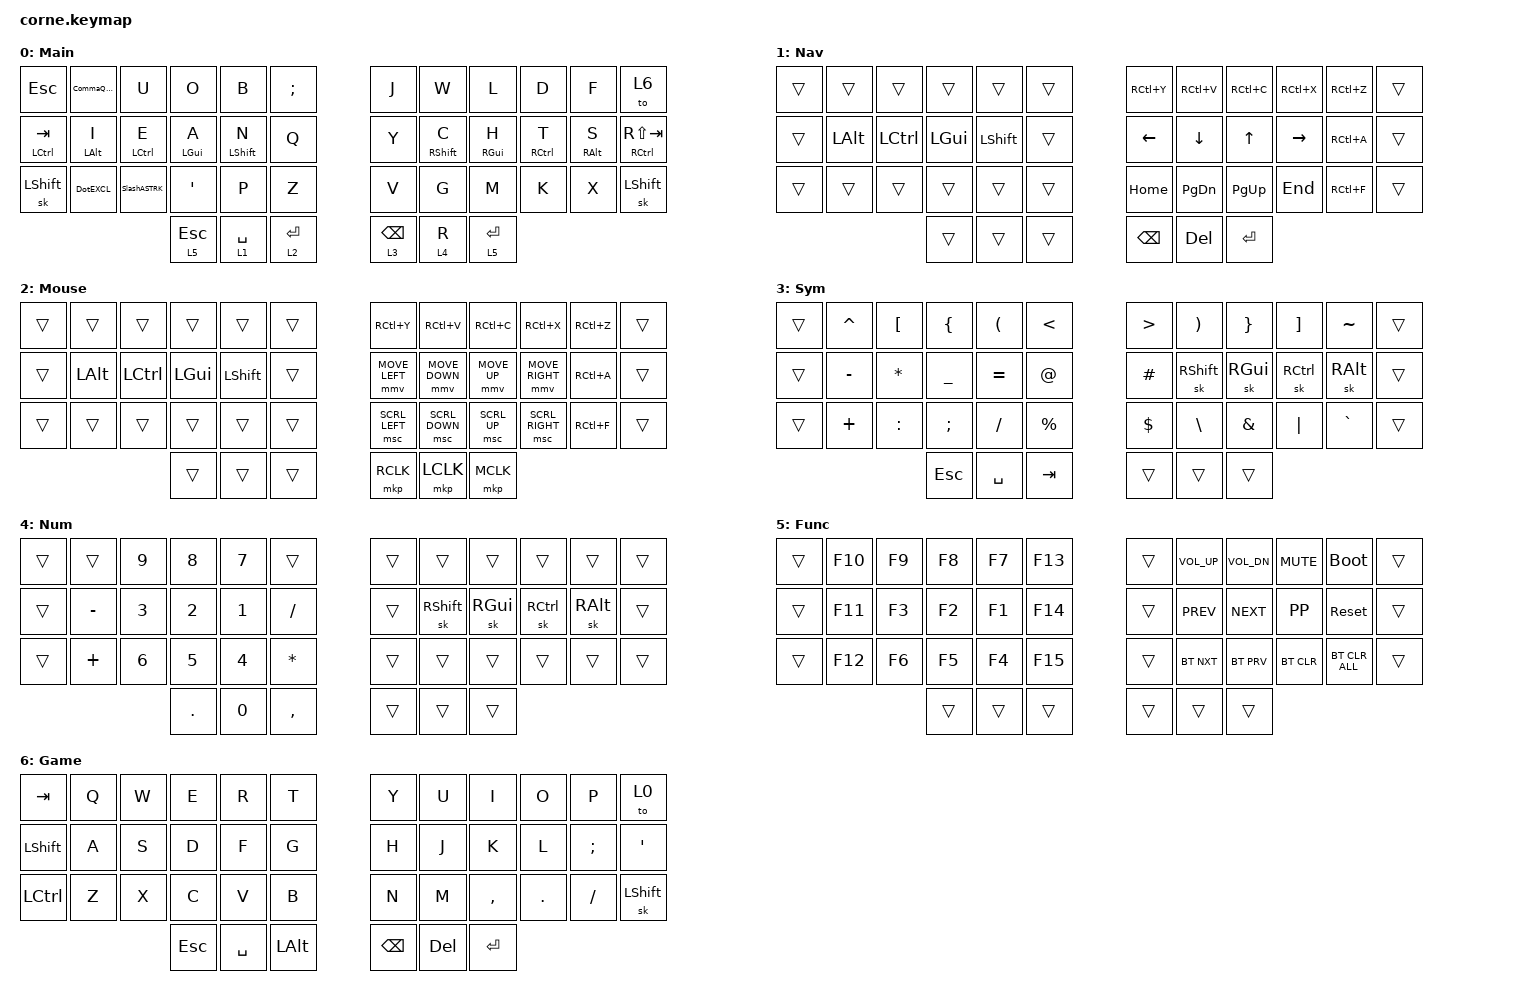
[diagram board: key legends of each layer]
/*
 * Copyright (c) 2020 The ZMK Contributors
 *
 * SPDX-License-Identifier: MIT
 */

#include <behaviors.dtsi>
#include <dt-bindings/zmk/bt.h>
#include <dt-bindings/zmk/keys.h>
#include <dt-bindings/zmk/pointing.h>

&mt {
    require-prior-idle-ms = <120>;
    flavor = "hold-preferred";
};

/ {
    macros {
        SelectLine: SelectLine {
            compatible = "zmk,behavior-macro";
            #binding-cells = <0>;
            bindings = <&kp HOME &kp LS(END)>;
            label = "SELECTLINE";
        };

        SelectWord: SelectWord {
            compatible = "zmk,behavior-macro";
            #binding-cells = <0>;
            bindings = <&kp LC(LEFT) &kp LS(LC(RIGHT))>;
            label = "SELECTWORD";
        };

        ExclEqual: ExclEqual {
            compatible = "zmk,behavior-macro";
            #binding-cells = <0>;
            bindings = <&kp EXCL &kp EQUAL>;
            label = "EXCLEQUAL";
        };

        LessThanOrEqualTo: LessThanOrEqualTo {
            compatible = "zmk,behavior-macro";
            #binding-cells = <0>;
            bindings = <&kp LESS_THAN &kp EQUAL>;
            label = "LESSTHANOREQUALTO";
        };

        GreaterThanOrEqualTo: GreaterThanOrEqualTo {
            compatible = "zmk,behavior-macro";
            #binding-cells = <0>;
            bindings = <&kp GREATER_THAN &kp EQUAL>;
            label = "GREATERTHANOREQUALTO";
        };

        DotBrace: DotBrack {
            compatible = "zmk,behavior-macro";
            #binding-cells = <0>;
            bindings = <&kp DOT &kp LEFT_BRACE>;
            label = "DOTBRACK";
        };

        arrow: arrow {
            compatible = "zmk,behavior-macro";
            #binding-cells = <0>;
            bindings = <&kp EQUAL &kp GREATER_THAN>;
            label = "ARROW";
        };
    };

    behaviors {
        hrml: hrml {
            compatible = "zmk,behavior-hold-tap";
            label = "HRML";
            bindings = <&kp>, <&kp>;

            #binding-cells = <2>;
            tapping-term-ms = <150>;
            hold-trigger-key-positions = <6 7 8 9 10 11 18 19 20 21 22 23 30 31 32 33 34 35 6 7 8 9 10 11 18 19 20 21 22 23 30 31 32 33 34 35 39 40 41>;
            require-prior-idle-ms = <120>;
            flavor = "tap-preferred";
        };

        hrmr: hrmr {
            compatible = "zmk,behavior-hold-tap";
            label = "HRMR";
            bindings = <&kp>, <&kp>;

            #binding-cells = <2>;
            tapping-term-ms = <150>;
            hold-trigger-key-positions = <0 1 2 3 4 5 12 13 14 15 16 17 24 25 26 27 28 29 36 37 38>;
            flavor = "tap-preferred";
            require-prior-idle-ms = <120>;
        };

        ltr: ltr {
            compatible = "zmk,behavior-hold-tap";
            label = "LTR";
            bindings = <&mo>, <&key_repeat>;

            #binding-cells = <2>;
            flavor = "tap-preferred";
            tapping-term-ms = <200>;
            require-prior-idle-ms = <120>;
        };

        CommaQMRK: CommaQMRK {
            compatible = "zmk,behavior-mod-morph";
            label = "COMMAQMRK";
            bindings = <&kp COMMA>, <&kp QUESTION>;

            #binding-cells = <0>;
            mods = <(MOD_LSFT|MOD_RSFT)>;
        };

        DotEXCL: DotEXCL {
            compatible = "zmk,behavior-mod-morph";
            label = "DOTEXCL";
            bindings = <&kp PERIOD>, <&kp EXCLAMATION>;

            #binding-cells = <0>;
            mods = <(MOD_LSFT|MOD_RSFT)>;
        };

        SlashASTRK: SlashASTRK {
            compatible = "zmk,behavior-mod-morph";
            label = "SLASHASTRK";
            bindings = <&kp KP_SLASH>, <&kp ASTRK>;

            #binding-cells = <0>;
            mods = <(MOD_LSFT|MOD_RSFT)>;
        };
    };

    combos {
        compatible = "zmk,combos";

        ExclEqual {
            bindings = <&ExclEqual>;
            key-positions = <2 3>;
            layers = <3>;
        };

        LessThanOrEqualToo {
            bindings = <&LessThanOrEqualTo>;
            key-positions = <3 4>;
            layers = <3>;
        };

        arrow {
            bindings = <&arrow>;
            key-positions = <15 14>;
            layers = <3>;
        };

        DotBrace {
            bindings = <&DotBrace>;
            key-positions = <15 16>;
            layers = <3>;
        };

        GreaterThanOrEqualTo {
            bindings = <&GreaterThanOrEqualTo>;
            key-positions = <8 7>;
            layers = <3>;
        };
    };

    keymap {
        compatible = "zmk,keymap";

        default_layer {
            display-name = "Main";

            // -----------------------------------------------------------------------------------------
            // |  TAB |  Q  |  W  |  E  |  R  |  T  |   |  Y  |  U   |  I  |  O  |  P  | BSPC |
            // | CTRL |  A  |  S  |  D  |  F  |  G  |   |  H  |  J   |  K  |  L  |  ;  |  '   |
            // | SHFT |  Z  |  X  |  C  |  V  |  B  |   |  N  |  M   |  ,  |  .  |  /  | ESC  |
            //                    | GUI | LWR | SPC |   | ENT | RSE  | ALT |

            bindings = <
&kp ESC        &CommaQMRK    &kp U          &kp O         &kp B          &kp SEMI      &kp J            &kp W          &kp L         &kp D          &kp F         &to 6
&mt LCTRL TAB  &hrml LALT I  &hrml LCTRL E  &hrml LGUI A  &hrml LSHFT N  &kp Q         &kp Y            &hrmr RSHFT C  &hrmr RGUI H  &hrmr RCTRL T  &hrmr RALT S  &mt RCTRL RS(TAB)
&sk LSHFT      &DotEXCL      &SlashASTRK    &kp APOS      &kp P          &kp Z         &kp V            &kp G          &kp M         &kp K          &kp X         &sk LSHFT
                                            &lt 5 ESC     &lt 1 SPACE    &ltr 2 RET    &lt 3 BACKSPACE  &lt 4 R        &lt 5 RET
            >;
        };

        Navigation {
            bindings = <
&trans  &trans    &trans     &trans    &trans     &trans    &kp RC(Y)  &kp RC(V)      &kp RC(C)     &kp RC(X)  &kp RC(Z)  &trans
&trans  &kp LALT  &kp LCTRL  &kp LGUI  &kp LSHFT  &trans    &kp LEFT   &kp DOWN       &kp UP_ARROW  &kp RIGHT  &kp RC(A)  &trans
&trans  &trans    &trans     &trans    &trans     &trans    &kp HOME   &kp PAGE_DOWN  &kp PAGE_UP   &kp END    &kp RC(F)  &trans
                             &trans    &trans     &trans    &kp BSPC   &kp DEL        &kp RET
            >;

            label = "Nav";
        };

        Mouse {
            label = "Mouse";
            bindings = <
&trans  &trans    &trans     &trans    &trans     &trans    &kp RC(Y)       &kp RC(V)       &kp RC(C)     &kp RC(X)        &kp RC(Z)  &trans
&trans  &kp LALT  &kp LCTRL  &kp LGUI  &kp LSHFT  &trans    &mmv MOVE_LEFT  &mmv MOVE_DOWN  &mmv MOVE_UP  &mmv MOVE_RIGHT  &kp RC(A)  &trans
&trans  &trans    &trans     &trans    &trans     &trans    &msc SCRL_LEFT  &msc SCRL_DOWN  &msc SCRL_UP  &msc SCRL_RIGHT  &kp RC(F)  &trans
                             &trans    &trans     &trans    &mkp RCLK       &mkp LCLK       &mkp MCLK
            >;
        };

        Symbol {
            label = "Sym";
            bindings = <
&trans  &kp CARET  &kp LEFT_BRACKET  &kp LEFT_BRACE  &kp LEFT_PARENTHESIS  &kp LESS_THAN    &kp GREATER_THAN  &kp RIGHT_PARENTHESIS  &kp RIGHT_BRACE  &kp RIGHT_BRACKET  &kp TILDE  &trans
&trans  &kp MINUS  &kp ASTRK         &kp UNDER       &kp EQUAL             &kp AT           &kp POUND         &sk RSHFT              &sk RGUI         &sk RCTRL          &sk RALT   &trans
&trans  &kp PLUS   &kp COLON         &kp SEMI        &kp SLASH             &kp PERCENT      &kp DOLLAR        &kp BSLH               &kp AMPERSAND    &kp PIPE           &kp GRAVE  &trans
                                     &kp ESC         &kp SPACE             &kp TAB          &trans            &trans                 &trans
            >;
        };

        Numbers {
            bindings = <
&trans  &trans     &kp N9  &kp N8      &kp N7  &trans       &trans  &trans     &trans    &trans     &trans    &trans
&trans  &kp MINUS  &kp N3  &kp N2      &kp N1  &kp FSLH     &trans  &sk RSHFT  &sk RGUI  &sk RCTRL  &sk RALT  &trans
&trans  &kp PLUS   &kp N6  &kp N5      &kp N4  &kp ASTRK    &trans  &trans     &trans    &trans     &trans    &trans
                           &kp PERIOD  &kp N0  &kp COMMA    &trans  &trans     &trans
            >;

            label = "Num";
        };

        Function {
            bindings = <
&trans  &kp F10  &kp F9  &kp F8  &kp F7  &kp F13    &trans  &kp C_VOLUME_UP  &kp C_VOL_DN  &kp K_MUTE  &bootloader     &trans
&trans  &kp F11  &kp F3  &kp F2  &kp F1  &kp F14    &trans  &kp K_PREV       &kp K_NEXT    &kp K_PP    &sys_reset      &trans
&trans  &kp F12  &kp F6  &kp F5  &kp F4  &kp F15    &trans  &bt BT_NXT       &bt BT_PRV    &bt BT_CLR  &bt BT_CLR_ALL  &trans
                         &trans  &trans  &trans     &trans  &trans           &trans
            >;

            label = "Func";
        };

        Gaming {
            display-name = "Game";
            bindings = <
&kp TAB    &kp Q  &kp W  &kp E    &kp R      &kp T       &kp Y     &kp U    &kp I      &kp O    &kp P     &to 0
&kp LSHFT  &kp A  &kp S  &kp D    &kp F      &kp G       &kp H     &kp J    &kp K      &kp L    &kp SEMI  &kp APOS
&kp LCTRL  &kp Z  &kp X  &kp C    &kp V      &kp B       &kp N     &kp M    &kp COMMA  &kp DOT  &kp FSLH  &sk LSHFT
                         &kp ESC  &kp SPACE  &kp LALT    &kp BSPC  &kp DEL  &kp ENTER
            >;
        };
    };

    conditional_layers { compatible = "zmk,conditional-layers"; };
};
